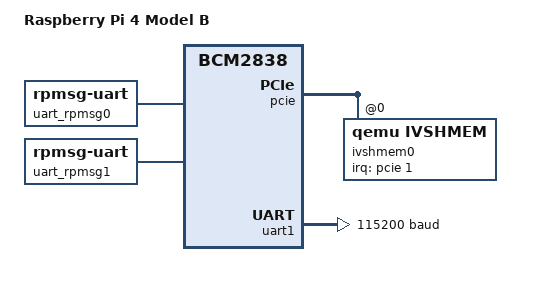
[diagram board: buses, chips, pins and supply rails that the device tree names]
/*
 * Copyright 2024 openEuler Embedded
 *
 * SPDX-License-Identifier: Apache-2.0
 */

/dts-v1/;

#include <broadcom/bcm2711.dtsi>

/ {
	model = "Raspberry Pi 4 Model B";
	compatible = "raspberrypi,4-model-b", "brcm,bcm2838";
	#address-cells = <1>;
	#size-cells = <1>;

	chosen {
        zephyr,console = &uart1;
		zephyr,shell-uart = &uart_rpmsg0;
		zephyr,sram = &sram1;
        zephyr,pcie-controller = &pcie;
	};

	uart_rpmsg0: ep0 {
		status = "okay";
		compatible = "zephyr,rpmsg-uart";
		/* the rpmsg-tty driver requires ep-name should be rpmsg-tty* */
		ep-name = "rpmsg-tty0";
	};

	uart_rpmsg1: ep1 {
		status = "okay";
		compatible = "zephyr,rpmsg-uart";
		ep-name = "rpmsg-tty1";
	};

    soc {

		sram1: memory@7a000000 {
			compatible = "mmio-sram";
			reg = <0x7a000000 DT_SIZE_M(10)>;
		};

		pcie: pcie@ff900000 {
			compatible = "pci-host-ecam-generic";
			device_type = "pci";
			reg = <0xff900000 0x100000>;
			#size-cells = <0x02>;
			#address-cells = <0x03>;
			ranges = <0x02000000 0x00 0x10000000 0x10000000 0x00 0x10000>;
			#interrupt-cells = <0x01>;
			interrupt-map-mask = <0x00 0x00 0x00 0x07>;
			interrupt-map = <
				0x00 0x00 0x00 1 &gic GIC_SPI 108 IRQ_TYPE_EDGE IRQ_DEFAULT_PRIORITY
				0x00 0x00 0x00 2 &gic GIC_SPI 109 IRQ_TYPE_EDGE IRQ_DEFAULT_PRIORITY
				0x00 0x00 0x00 3 &gic GIC_SPI 110 IRQ_TYPE_EDGE IRQ_DEFAULT_PRIORITY
				0x00 0x00 0x00 4 &gic GIC_SPI 111 IRQ_TYPE_EDGE IRQ_DEFAULT_PRIORITY>;
			bus-range = <0x00 0x00>;
		};

	};

};

&uart1 {
	status = "okay";
	current-speed = <115200>;
};

&pcie {
	ivshmem0: ivshmem@0 {
		compatible = "qemu,ivshmem";
		ivshmem-v2;
		vendor-id = <0x110A>;           /* Siemens */
		device-id = <0x4106>;           /* IVSHMEM */
		class-rev = <0xFF400100>;       /* PCI_CLASS_OTHERS | IVSHMEM_PROTO_RPMSG */
		class-rev-mask = <0xFFFFFF00>;  /* PCI_CLASS_MASK | IVSHMEM_PROTO_MASK */
		interrupt-parent = <&pcie>;
		interrupts = <1 2 3 4>;
		reg = <0x00 0x00 0x00 0x00 0x01>;
		status = "okay";
	};
};
